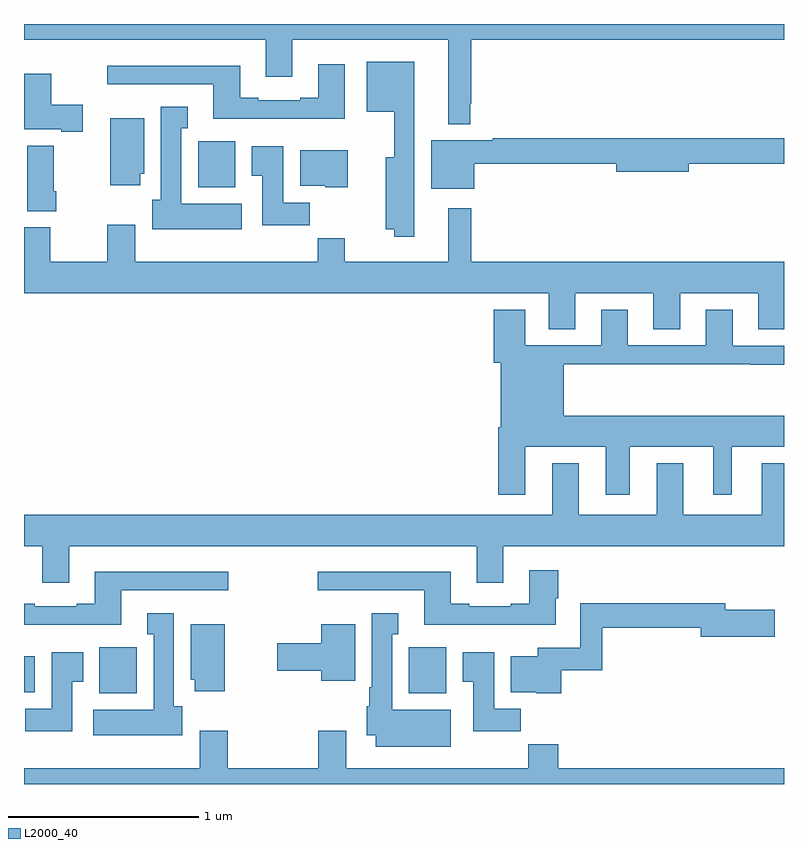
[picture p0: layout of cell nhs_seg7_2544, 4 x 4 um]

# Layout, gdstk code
import gdstk
lib = gdstk.Library(unit=1e-6, precision=1e-09)
def R(c, l, rs):  # rectangles x0, y0, x1, y1
    for r in rs: c.add(gdstk.rectangle(r[:2], r[2:], *l))
def P(c, l, *ps):  # polygons
    for p in ps: c.add(gdstk.Polygon(p, *l))
L2000_40 = (2000, 40)

nhs_seg7_2544 = lib.new_cell('nhs_seg7_2544')
R(nhs_seg7_2544, L2000_40, [(277.397,1030.478,277.594,1030.72), (279.026,1030.478,279.223,1030.72), (277,1030.484,277.057,1030.672), (277.916,1033.142,278.113,1033.384)])
P(nhs_seg7_2544, L2000_40, [(279.348,1033.579),(279.355,1033.579),(279.355,1033.916),(281,1033.916),(281,1034),(277,1034),(277,1033.916),(278.273,1033.916),(278.273,1033.722),(278.413,1033.722),(278.413,1033.916),(279.233,1033.916),(279.233,1033.472),(279.348,1033.472)],
  [(279.055,1033.801),(278.804,1033.801),(278.804,1033.538),(278.949,1033.538),(278.949,1033.3),(278.903,1033.3),(278.903,1032.92),(278.949,1032.92),(278.949,1032.881),(279.055,1032.881)],
  [(278.689,1033.789),(278.549,1033.789),(278.549,1033.612),(278.453,1033.612),(278.453,1033.599),(278.233,1033.599),(278.233,1033.612),(278.137,1033.612),(278.137,1033.78),(277.437,1033.78),(277.437,1033.683),(277.997,1033.683),(277.997,1033.502),(278.689,1033.502)],
  [(277.309,1033.575),(277.143,1033.575),(277.143,1033.738),(277,1033.738),(277,1033.446),(277.196,1033.446),(277.196,1033.433),(277.309,1033.433)],
  [(278.146,1033.054),(277.828,1033.054),(277.828,1033.451),(277.861,1033.451),(277.861,1033.564),(277.721,1033.564),(277.721,1033.074),(277.676,1033.074),(277.676,1032.92),(278.146,1032.92)],
  [(277.612,1033.212),(277.633,1033.212),(277.633,1033.504),(277.454,1033.504),(277.454,1033.152),(277.612,1033.152)],
  [(279.37,1033.264),(280.118,1033.264),(280.118,1033.222),(280.498,1033.222),(280.498,1033.264),(281,1033.264),(281,1033.4),(279.466,1033.4),(279.466,1033.387),(279.143,1033.387),(279.143,1033.133),(279.37,1033.133)],
  [(277.169,1033.12),(277.156,1033.12),(277.156,1033.36),(277.016,1033.36),(277.016,1033.015),(277.169,1033.015)],
  [(278.504,1033.06),(278.365,1033.06),(278.365,1033.357),(278.198,1033.357),(278.198,1033.201),(278.255,1033.201),(278.255,1032.942),(278.504,1032.942)],
  [(278.704,1033.336),(278.453,1033.336),(278.453,1033.148),(278.586,1033.148),(278.586,1033.142),(278.704,1033.142)],
  [(279.901,1032.584),(280.313,1032.584),(280.313,1032.394),(280.453,1032.394),(280.453,1032.584),(280.865,1032.584),(280.865,1032.394),(281,1032.394),(281,1032.748),(279.355,1032.748),(279.355,1033.03),(279.233,1033.03),(279.233,1032.748),(278.689,1032.748),(278.689,1032.872),(278.545,1032.872),(278.545,1032.748),(277.585,1032.748),(277.585,1032.943),(277.438,1032.943),(277.438,1032.748),(277.137,1032.748),(277.137,1032.93),(277,1032.93),(277,1032.584),(279.761,1032.584),(279.761,1032.394),(279.901,1032.394)],
  [(279.637,1031.774),(280.061,1031.774),(280.061,1031.523),(280.189,1031.523),(280.189,1031.774),(280.628,1031.774),(280.628,1031.523),(280.726,1031.523),(280.726,1031.774),(281,1031.774),(281,1031.938),(279.841,1031.938),(279.841,1032.208),(280.825,1032.208),(280.825,1032.206),(281,1032.206),(281,1032.306),(280.729,1032.306),(280.729,1032.496),(280.589,1032.496),(280.589,1032.309),(280.177,1032.309),(280.177,1032.496),(280.037,1032.496),(280.037,1032.309),(279.637,1032.309),(279.637,1032.496),(279.473,1032.496),(279.473,1032.216),(279.509,1032.216),(279.509,1031.878),(279.497,1031.878),(279.497,1031.523),(279.637,1031.523)],
  [(277.237,1031.252),(279.383,1031.252),(279.383,1031.058),(279.523,1031.058),(279.523,1031.252),(281,1031.252),(281,1031.689),(280.883,1031.689),(280.883,1031.416),(280.471,1031.416),(280.471,1031.689),(280.331,1031.689),(280.331,1031.416),(279.919,1031.416),(279.919,1031.689),(279.779,1031.689),(279.779,1031.416),(277,1031.416),(277,1031.252),(277.097,1031.252),(277.097,1031.058),(277.237,1031.058)],
  [(279.799,1030.977),(279.812,1030.977),(279.812,1031.125),(279.659,1031.125),(279.659,1030.948),(279.563,1030.948),(279.563,1030.935),(279.343,1030.935),(279.343,1030.948),(279.247,1030.948),(279.247,1031.116),(278.547,1031.116),(278.547,1031.019),(279.107,1031.019),(279.107,1030.838),(279.799,1030.838)],
  [(277.513,1031.019),(278.074,1031.019),(278.074,1031.116),(277.373,1031.116),(277.373,1030.948),(277.277,1030.948),(277.277,1030.935),(277.057,1030.935),(277.057,1030.948),(277,1030.948),(277,1030.838),(277.513,1030.838)],
  [(279.827,1030.6),(280.043,1030.6),(280.043,1030.822),(280.562,1030.822),(280.562,1030.775),(280.951,1030.775),(280.951,1030.917),(280.69,1030.917),(280.69,1030.951),(279.927,1030.951),(279.927,1030.716),(279.704,1030.716),(279.704,1030.672),(279.563,1030.672),(279.563,1030.484),(279.696,1030.484),(279.696,1030.478),(279.827,1030.478)],
  [(279.247,1030.39),(278.938,1030.39),(278.938,1030.787),(278.971,1030.787),(278.971,1030.9),(278.831,1030.9),(278.831,1030.51),(278.816,1030.51),(278.816,1030.41),(278.804,1030.41),(278.804,1030.256),(278.852,1030.256),(278.852,1030.196),(279.247,1030.196)],
  [(277.834,1030.41),(277.789,1030.41),(277.789,1030.9),(277.649,1030.9),(277.649,1030.787),(277.682,1030.787),(277.682,1030.39),(277.365,1030.39),(277.365,1030.256),(277.834,1030.256)],
  [(278.743,1030.84),(278.564,1030.84),(278.564,1030.742),(278.334,1030.742),(278.334,1030.595),(278.564,1030.595),(278.564,1030.544),(278.743,1030.544)],
  [(278.056,1030.84),(277.877,1030.84),(277.877,1030.548),(277.898,1030.548),(277.898,1030.488),(278.056,1030.488)],
  [(279.614,1030.396),(279.475,1030.396),(279.475,1030.693),(279.308,1030.693),(279.308,1030.537),(279.365,1030.537),(279.365,1030.278),(279.614,1030.278)],
  [(277.255,1030.537),(277.312,1030.537),(277.312,1030.693),(277.145,1030.693),(277.145,1030.396),(277.006,1030.396),(277.006,1030.278),(277.255,1030.278)],
  [(281,1030.084),(279.812,1030.084),(279.812,1030.208),(279.655,1030.208),(279.655,1030.084),(278.695,1030.084),(278.695,1030.279),(278.548,1030.279),(278.548,1030.084),(278.073,1030.084),(278.073,1030.279),(277.925,1030.279),(277.925,1030.084),(277,1030.084),(277,1030),(281,1030)])

lib.write_gds('nhs_seg7_2544.gds')
